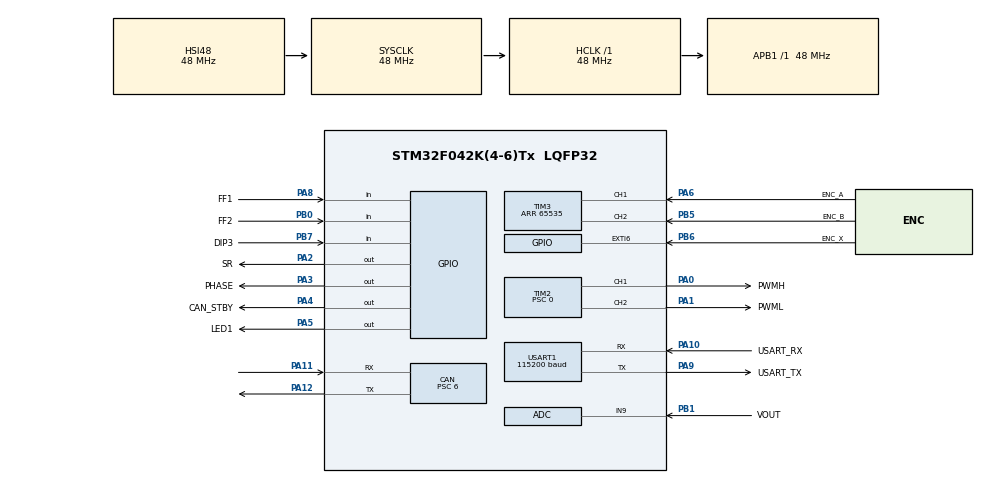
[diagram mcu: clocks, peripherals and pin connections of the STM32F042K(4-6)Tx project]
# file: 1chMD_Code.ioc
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ADC.ClockPrescaler=ADC_CLOCK_ASYNC_DIV1
ADC.ContinuousConvMode=ENABLE
ADC.DMAContinuousRequests=DISABLE
ADC.SamplingTime=ADC_SAMPLETIME_7CYCLES_5
CAN.BS1=CAN_BS1_14TQ
CAN.CalculateTimeQuantum=125.0
CAN.Prescaler=6
Dma.ADC.0.Direction=DMA_PERIPH_TO_MEMORY
Dma.ADC.0.Instance=DMA1_Channel1
Dma.ADC.0.MemDataAlignment=DMA_MDATAALIGN_HALFWORD
Dma.ADC.0.MemInc=DMA_MINC_ENABLE
Dma.ADC.0.Mode=DMA_CIRCULAR
Dma.ADC.0.PeriphDataAlignment=DMA_PDATAALIGN_HALFWORD
Dma.ADC.0.PeriphInc=DMA_PINC_DISABLE
Dma.ADC.0.Priority=DMA_PRIORITY_LOW
Dma.Request0=ADC
Mcu.Family=STM32F0
Mcu.Name=STM32F042K(4-6)Tx
Mcu.Package=LQFP32
NVIC.CEC_CAN_IRQn=true\:0\:0\:false\:false\:true\:true\:true
NVIC.DMA1_Channel1_IRQn=true\:0\:0\:false\:false\:true\:false\:true
NVIC.TIM14_IRQn=true\:0\:0\:false\:false\:true\:true\:true
NVIC.TIM1_BRK_UP_TRG_COM_IRQn=true\:0\:0\:false\:false\:true\:true\:true
PA0.GPIO_Label=PWMH
PA0.GPIO_ModeDefaultPP=GPIO_MODE_AF_PP
PA0.GPIO_PuPd=GPIO_NOPULL
PA0.GPIO_Speed=GPIO_SPEED_FREQ_LOW
PA0.Signal=S_TIM2_CH1_ETR
PA1.GPIO_Label=PWML
PA1.Signal=S_TIM2_CH2
PA10.GPIO_FMA10=__NULL
PA10.GPIO_Label=USART_RX
PA10.GPIO_ModeDefaultPP=GPIO_MODE_AF_PP
PA10.GPIO_PuPd=GPIO_NOPULL
PA10.GPIO_Speed=GPIO_SPEED_FREQ_HIGH
PA10.Mode=Asynchronous
PA10.Signal=USART1_RX
PA11.Mode=Master
PA11.Signal=CAN_RX
PA12.Mode=Master
PA12.Signal=CAN_TX
PA13.GPIO_Label=SWDIO
PA13.Mode=Serial_Wire
PA13.Signal=SYS_SWDIO
PA14.GPIO_Label=SWDIO
PA14.Mode=Serial_Wire
PA14.Signal=SYS_SWCLK
PA2.GPIO_Label=SR
PA2.GPIO_ModeDefaultOutputPP=GPIO_MODE_OUTPUT_PP
PA2.GPIO_PuPd=GPIO_NOPULL
PA2.GPIO_Speed=GPIO_SPEED_FREQ_LOW
PA2.PinState=GPIO_PIN_RESET
PA2.Signal=GPIO_Output
PA3.GPIO_Label=PHASE
PA3.Signal=GPIO_Output
PA4.GPIO_Label=CAN_STBY
PA4.Signal=GPIO_Output
PA5.GPIO_Label=LED1
PA5.Signal=GPIO_Output
PA6.GPIO_Label=ENC_A
PA6.GPIO_ModeDefaultPP=GPIO_MODE_AF_PP
PA6.GPIO_PuPd=GPIO_NOPULL
PA6.GPIO_Speed=GPIO_SPEED_FREQ_LOW
PA6.Signal=S_TIM3_CH1
PA7.GPIO_Mode=GPIO_MODE_AF_PP
PA7.GPIO_PuPd=GPIO_NOPULL
PA7.GPIO_Speed=GPIO_SPEED_FREQ_HIGH
PA7.Signal=SPI1_MOSI
PA8.GPIO_Label=FF1
PA8.Signal=GPIO_Input
PA9.GPIO_FMA9=__NULL
PA9.GPIO_Label=USART_TX
PA9.GPIO_ModeDefaultPP=GPIO_MODE_AF_PP
PA9.GPIO_PuPd=GPIO_NOPULL
PA9.GPIO_Speed=GPIO_SPEED_FREQ_HIGH
PA9.Mode=Asynchronous
PA9.Signal=USART1_TX
PB0.GPIO_Label=FF2
PB0.Signal=GPIO_Input
PB1.GPIO_Label=VOUT
PB1.GPIO_Mode=GPIO_MODE_ANALOG
PB1.GPIO_PuPd=GPIO_NOPULL
PB1.Mode=IN9
PB1.Signal=ADC_IN9
PB5.GPIO_Label=ENC_B
PB5.GPIO_ModeDefaultPP=GPIO_MODE_AF_PP
PB5.GPIO_PuPd=GPIO_NOPULL
PB5.GPIO_Speed=GPIO_SPEED_FREQ_LOW
PB5.Signal=S_TIM3_CH2
PB6.GPIO_Label=ENC_X
PB6.GPIO_ModeDefaultEXTI=GPIO_MODE_IT_RISING
PB6.GPIO_PuPd=GPIO_NOPULL
PB6.Signal=GPXTI6
PB7.GPIO_Label=DIP3
PB7.GPIO_Mode=GPIO_MODE_INPUT
PB7.GPIO_PuPd=GPIO_PULLUP
PB7.Signal=GPIO_Input
PB8.Signal=S_TIM16_CH1
ProjectManager.HeapSize=0x200
ProjectManager.StackSize=0x400
ProjectManager.TargetToolchain=STM32CubeIDE
RCC.AHBFreq_Value=48000000
RCC.APB1Freq_Value=48000000
RCC.APB1TimFreq_Value=48000000
RCC.HCLKFreq_Value=48000000
RCC.SYSCLKFreq_VALUE=48000000
RCC.SYSCLKSource=RCC_SYSCLKSOURCE_HSI48
SH.S_TIM16_CH1.0=TIM16_CH1
SH.S_TIM2_CH1_ETR.0=TIM2_CH1,PWM Generation1 CH1
SH.S_TIM2_CH2.0=TIM2_CH2,PWM Generation2 CH2
SH.S_TIM3_CH1.0=TIM3_CH1,Encoder_Interface
SH.S_TIM3_CH2.0=TIM3_CH2,Encoder_Interface
TIM1.Period=160
TIM1.Prescaler=3-1
TIM14.Period=4000
TIM2.Channel-PWM\ Generation1\ CH1=TIM_CHANNEL_1
TIM2.Channel-PWM\ Generation2\ CH2=TIM_CHANNEL_2
TIM2.Period=1655-1
TIM2.Prescaler=0
TIM3.EncoderMode=TIM_ENCODERMODE_TI12
TIM3.Period=65535
USART1.BaudRate=115200
USART1.VirtualMode-Asynchronous=VM_ASYNC
VP_TIM14_VS_ClockSourceINT.Mode=Enable_Timer
VP_TIM1_VS_ClockSourceINT.Mode=Internal
board=custom

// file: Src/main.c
/* USER CODE BEGIN Header */
/**
  ******************************************************************************
  * @file           : main.c
  * @brief          : Main program body
  ******************************************************************************
  * @attention
  *
  * <h2><center>&copy; Copyright (c) 2019 STMicroelectronics.
  * All rights reserved.</center></h2>
  *
  * This software component is licensed by ST under BSD 3-Clause license,
  * the "License"; You may not use this file except in compliance with the
  * License. You may obtain a copy of the License at:
  *                        opensource.org/licenses/BSD-3-Clause
  *
  ******************************************************************************
  */
/* USER CODE END Header */

#include "main.h"

/* USER CODE BEGIN Includes */
#include <math.h>
#define ARM_MATH_CM0
#include "arm_math.h"
#include "arm_const_structs.h"
/* USER CODE END Includes */

/* USER CODE BEGIN PD */

//PID value
#define KP 6.1
#define KI 0
#define KD 0
//ADC
#define ADC_CONVERTED_DATA_BUFFER_SIZE 1
#define CURRENT_AVERAGING_NUM 50//[times]
#define LPF_VALUE 0.08//if this value is 1, cut off frequency is infinitiy.
#define CURRENT_SENS 0.0176//[V/A]
#define CURRENT_DRIFT 0.331//[V]
//#define CURRENT_DRIFT_VALUE 406.97//[-]
float CURRENT_DRIFT_VALUE;
#define VOLTAGE_REF 3.3//[V]
#define VOLTAGE_REF_VALUE 4096//[-]

//Current limit
#define CURRENT_LIMIT_LPF_VALUE 0.01 //if this value is 1, cut off frequency is infinitiy.
#define CURRENT_LIMIT_FALLING_GAIN 100
#define CURRENT_LIMIT_RISING_GAIN 1 //

//Duty resolution and PWM frequency
#define PWM_PSC (1-1)
#define PWM_ARR (2000-1)//	48MHz/PWM_PSC*PWM_ARR = PWM frequency
#define PWM_CHANGE_CONTROL_THRESHOLD 85
#define PWM_DUTY_MAX_ABS 30

//Timer interruption1 frequency
#define TIM1_PSC (48-1)//48MHz/Timer_PSC = Timer interruption1(main control) frequency
#define TIM1_ARR (1000-1)
#define TIM14_PSC (48-1)
#define TIM14_ARR (250-1)

/* USER CODE END PD */

ADC_HandleTypeDef hadc;
DMA_HandleTypeDef hdma_adc;

CAN_HandleTypeDef hcan;

TIM_HandleTypeDef htim1;
TIM_HandleTypeDef htim2;
TIM_HandleTypeDef htim3;
TIM_HandleTypeDef htim14;

UART_HandleTypeDef huart1;

/* USER CODE BEGIN PV */

float target_value =1;

//CAN

uint32_t pTxMailbox;
uint32_t mailbox,timestamp;
uint8_t CAN_data[]={0xaa,0x55,0x00,0x00,0xff,0x01,0x80,0x45};
uint8_t CAN_ReceiveData[8]={};

//ADC
uint16_t ADC_Data[ADC_CONVERTED_DATA_BUFFER_SIZE];
float ADC_Slope;
float ADC_Offset;

//PWM
float Duty_Present = 0;//100%=100
float PWM_Duty_Max=10;//[%]

//Current
float Current_Present = 0;//[A]
float current_average_dt=0;
float Current_Limit_Value = 5;//[A] //if Current_Limit_State is ENABLE and over this value become duty down except for transient over.
uint8_t Current_Limit_State= ENABLE;

//ERROR
typedef enum{
	HAL_ERROR_STATE,
	PWM_DUTY_MAX_ABS_OVER,
	PWM_DUTY_MAX_OVER,
	CURRENT_LIMIT_RISING,
	CURRENT_LIMIT_OVER,
	CAN_ERROR
}error;
uint8_t Error_State=0;

float CURRENT_AVERAGE_DT;
float DUTY_AVERAGE_DT;

/* USER CODE END PV */

void SystemClock_Config(void);
static void MX_GPIO_Init(void);
static void MX_DMA_Init(void);
static void MX_ADC_Init(void);
static void MX_CAN_Init(void);
static void MX_TIM2_Init(void);
static void MX_TIM3_Init(void);
static void MX_USART1_UART_Init(void);
static void MX_TIM1_Init(void);
static void MX_TIM14_Init(void);
/* USER CODE BEGIN PFP */
int Get_Enocder_Value(void);
float Get_Current_Value(void);
void Motor_pwm(float pwm);
void Motor_InitSetting(char setting);
float pid(float present, float target);
void CAN_Tx(uint8_t aData[]);
void CAN_Rx(void);
/* USER CODE END PFP */

/* USER CODE BEGIN 0 */

void TIM1_BRK_UP_TRG_COM_IRQHandler(void)//TIM1 timer interruption
{
	HAL_TIM_IRQHandler(&htim1);
	static float cos_,i=0;

	//Motor_pwm(cos_);
	i=i+0.001;
	target_value =0.5*arm_sin_f32(6.28318530718*i);

	//if(i ==0) Motor_pwm(5);
	//else Motor_pwm(-5);
	//i++;
	//if(i==2) i=0;

	//Duty_Present += pid(Current_Present,target_value);
	//Motor_pwm(Duty_Present);

	//Motor_pwm(0);

	//Motor_pwm(pid(Current_Value,target_value));
}

void TIM14_IRQHandler(void)
{
  /* USER CODE BEGIN TIM14_IRQn 0 */

	//CAN_Rx();
	CAN_Tx(CAN_data);
  /* USER CODE END TIM14_IRQn 0 */
  HAL_TIM_IRQHandler(&htim14);
  /* USER CODE BEGIN TIM14_IRQn 1 */
  int8_t direction;
  float sum=0;
  static float current_abs_lpf,current_abs_prev;

  static float current_abs_high_lpf,current_abs_prev_high_lpf;

	for(uint16_t i =0; i<CURRENT_AVERAGING_NUM; i++)//get current value by normalization filter
	{
		HAL_ADC_Start_DMA(&hadc,(uint32_t *)ADC_Data,ADC_CONVERTED_DATA_BUFFER_SIZE);//start adc
		if(HAL_GPIO_ReadPin(PHASE_GPIO_Port,PHASE_Pin) == 1) sum += ADC_Data[0];
		else sum -= ADC_Data[0];
	}
	sum /= CURRENT_AVERAGING_NUM;
	if(sum > 0) direction = 1;
	else
	{
		direction = -1;
		sum *= -1;
	}
	current_abs_lpf = (1-LPF_VALUE)*current_abs_prev + LPF_VALUE*((sum-CURRENT_DRIFT_VALUE)*VOLTAGE_REF/(CURRENT_SENS*VOLTAGE_REF_VALUE));
	current_abs_prev = current_abs_lpf;
	Current_Present = direction*current_abs_lpf;

	if(Current_Limit_State == ENABLE)//current limit
	{
		current_abs_high_lpf = (1-CURRENT_LIMIT_LPF_VALUE)*current_abs_prev_high_lpf + CURRENT_LIMIT_LPF_VALUE*((sum-CURRENT_DRIFT_VALUE)*VOLTAGE_REF/(CURRENT_SENS*VOLTAGE_REF_VALUE));
		current_abs_prev_high_lpf = current_abs_high_lpf;
		current_average_dt = direction*current_abs_high_lpf;
		CURRENT_AVERAGE_DT = current_average_dt;
		if(fabs(current_average_dt) > Current_Limit_Value && PWM_Duty_Max > 0)//current shut down
		{
			PWM_Duty_Max+=(Current_Limit_Value-current_average_dt)*CURRENT_LIMIT_FALLING_GAIN;
			Error_State|=(1<<CURRENT_LIMIT_OVER);
		}
		else Error_State&=~(1<<CURRENT_LIMIT_OVER);

		Motor_pwm(Duty_Present);
	}
	HAL_CAN_IRQHandler(&hcan);

	/* USER CODE END TIM14_IRQn 1 */
}

/* USER CODE END 0 */

int main(void)
{

  /* MCU Configuration--------------------------------------------------------*/

  /* Reset of all peripherals, Initializes the Flash interface and the Systick. */
  HAL_Init();

  /* Configure the system clock */
  SystemClock_Config();

  /* Initialize all configured peripherals */
  MX_GPIO_Init();
  MX_DMA_Init();
  MX_ADC_Init();
  MX_CAN_Init();
  MX_TIM2_Init();
  MX_TIM3_Init();
  MX_USART1_UART_Init();
  MX_TIM1_Init();
  MX_TIM14_Init();
  /* USER CODE BEGIN 2 */
  HAL_ADCEx_Calibration_Start(&hadc);//adc calibration
  Motor_InitSetting(1);
  Current_Limit_State=ENABLE;

  HAL_TIM_Encoder_Start(&htim3,TIM_CHANNEL_ALL);//encoder start
  HAL_TIM_PWM_Start(&htim2,TIM_CHANNEL_1);//PWM generation
  HAL_TIM_PWM_Start(&htim2,TIM_CHANNEL_2);
  HAL_TIM_PWM_Start(&htim2,TIM_CHANNEL_4);
  HAL_CAN_Start(&hcan);
  HAL_Delay(10);
  HAL_TIM_Base_Start_IT(&htim14);
  HAL_Delay(500);
  HAL_TIM_Base_Start_IT(&htim1);//timer interruption

  /* USER CODE END 2 */

  /* Infinite loop */
  while (1)
  {

  }
}

void SystemClock_Config(void)
{
  RCC_OscInitTypeDef RCC_OscInitStruct = {0};
  RCC_ClkInitTypeDef RCC_ClkInitStruct = {0};
  RCC_PeriphCLKInitTypeDef PeriphClkInit = {0};

  /** Initializes the CPU, AHB and APB busses clocks
  */
  RCC_OscInitStruct.OscillatorType = RCC_OSCILLATORTYPE_HSI14|RCC_OSCILLATORTYPE_HSI48;
  RCC_OscInitStruct.HSI48State = RCC_HSI48_ON;
  RCC_OscInitStruct.HSI14State = RCC_HSI14_ON;
  RCC_OscInitStruct.HSI14CalibrationValue = 16;
  RCC_OscInitStruct.PLL.PLLState = RCC_PLL_NONE;
  if (HAL_RCC_OscConfig(&RCC_OscInitStruct) != HAL_OK)
  {
    Error_Handler();
  }
  /** Initializes the CPU, AHB and APB busses clocks
  */
  RCC_ClkInitStruct.ClockType = RCC_CLOCKTYPE_HCLK|RCC_CLOCKTYPE_SYSCLK
                              |RCC_CLOCKTYPE_PCLK1;
  RCC_ClkInitStruct.SYSCLKSource = RCC_SYSCLKSOURCE_HSI48;
  RCC_ClkInitStruct.AHBCLKDivider = RCC_SYSCLK_DIV1;
  RCC_ClkInitStruct.APB1CLKDivider = RCC_HCLK_DIV1;

  if (HAL_RCC_ClockConfig(&RCC_ClkInitStruct, FLASH_LATENCY_1) != HAL_OK)
  {
    Error_Handler();
  }
  PeriphClkInit.PeriphClockSelection = RCC_PERIPHCLK_USART1;
  PeriphClkInit.Usart1ClockSelection = RCC_USART1CLKSOURCE_PCLK1;
  if (HAL_RCCEx_PeriphCLKConfig(&PeriphClkInit) != HAL_OK)
  {
    Error_Handler();
  }
}

static void MX_ADC_Init(void)
{

  ADC_ChannelConfTypeDef sConfig = {0};

  /** Configure the global features of the ADC (Clock, Resolution, Data Alignment and number of conversion)
  */
  hadc.Instance = ADC1;
  hadc.Init.ClockPrescaler = ADC_CLOCK_ASYNC_DIV1;
  hadc.Init.Resolution = ADC_RESOLUTION_12B;
  hadc.Init.DataAlign = ADC_DATAALIGN_RIGHT;
  hadc.Init.ScanConvMode = ADC_SCAN_DIRECTION_FORWARD;
  hadc.Init.EOCSelection = ADC_EOC_SINGLE_CONV;
  hadc.Init.LowPowerAutoWait = DISABLE;
  hadc.Init.LowPowerAutoPowerOff = DISABLE;
  hadc.Init.ContinuousConvMode = ENABLE;
  hadc.Init.DiscontinuousConvMode = DISABLE;
  hadc.Init.ExternalTrigConv = ADC_SOFTWARE_START;
  hadc.Init.ExternalTrigConvEdge = ADC_EXTERNALTRIGCONVEDGE_NONE;
  hadc.Init.DMAContinuousRequests = DISABLE;
  hadc.Init.Overrun = ADC_OVR_DATA_PRESERVED;
  if (HAL_ADC_Init(&hadc) != HAL_OK)
  {
    Error_Handler();
  }
  /** Configure for the selected ADC regular channel to be converted.
  */
  sConfig.Channel = ADC_CHANNEL_9;
  sConfig.Rank = ADC_RANK_CHANNEL_NUMBER;
  sConfig.SamplingTime = ADC_SAMPLETIME_7CYCLES_5;
  if (HAL_ADC_ConfigChannel(&hadc, &sConfig) != HAL_OK)
  {
    Error_Handler();
  }

}

static void MX_CAN_Init(void)
{

  hcan.Instance = CAN;
  hcan.Init.Prescaler = 6;
  hcan.Init.Mode = CAN_MODE_NORMAL;
  hcan.Init.SyncJumpWidth = CAN_SJW_1TQ;
  hcan.Init.TimeSeg1 = CAN_BS1_14TQ;
  hcan.Init.TimeSeg2 = CAN_BS2_1TQ;
  hcan.Init.TimeTriggeredMode = DISABLE;
  hcan.Init.AutoBusOff = DISABLE;
  hcan.Init.AutoWakeUp = DISABLE;
  hcan.Init.AutoRetransmission = DISABLE;
  hcan.Init.ReceiveFifoLocked = DISABLE;
  hcan.Init.TransmitFifoPriority = DISABLE;
  if (HAL_CAN_Init(&hcan) != HAL_OK)
  {
    Error_Handler();
  }
  /* USER CODE BEGIN CAN_Init 2 */

  HAL_GPIO_WritePin(CAN_STBY_GPIO_Port,CAN_STBY_Pin,0);
 // CAN_FilterTypeDef sFilterConfig;
 // sFilterConfig.FilterMaskIdHigh = 0;
 // sFilterConfig.FilterMaskIdLow = 0;
 // sFilterConfig.FilterMode = CAN_FILTERMODE_IDMASK;
 // sFilterConfig.FilterScale = CAN_FILTERSCALE_32BIT;
 // sFilterConfig.FilterFIFOAssignment =CAN_FILTER_FIFO0;
//  sFilterConfig.FilterActivation = CAN_FILTER_ENABLE;

 // HAL_CAN_ConfigFilter(&hcan, &sFilterConfig);
  /* USER CODE END CAN_Init 2 */

}

static void MX_TIM1_Init(void)
{

  TIM_ClockConfigTypeDef sClockSourceConfig = {0};
  TIM_MasterConfigTypeDef sMasterConfig = {0};

  htim1.Instance = TIM1;
  htim1.Init.Prescaler = TIM1_PSC;
  htim1.Init.CounterMode = TIM_COUNTERMODE_UP;
  htim1.Init.Period = TIM1_ARR;
  htim1.Init.ClockDivision = TIM_CLOCKDIVISION_DIV1;
  htim1.Init.RepetitionCounter = 0;
  htim1.Init.AutoReloadPreload = TIM_AUTORELOAD_PRELOAD_DISABLE;
  if (HAL_TIM_Base_Init(&htim1) != HAL_OK)
  {
    Error_Handler();
  }
  sClockSourceConfig.ClockSource = TIM_CLOCKSOURCE_INTERNAL;
  if (HAL_TIM_ConfigClockSource(&htim1, &sClockSourceConfig) != HAL_OK)
  {
    Error_Handler();
  }
  sMasterConfig.MasterOutputTrigger = TIM_TRGO_RESET;
  sMasterConfig.MasterSlaveMode = TIM_MASTERSLAVEMODE_DISABLE;
  if (HAL_TIMEx_MasterConfigSynchronization(&htim1, &sMasterConfig) != HAL_OK)
  {
    Error_Handler();
  }

}

static void MX_TIM2_Init(void)
{

  TIM_MasterConfigTypeDef sMasterConfig = {0};
  TIM_OC_InitTypeDef sConfigOC = {0};

  htim2.Instance = TIM2;
  htim2.Init.Prescaler = PWM_PSC;
  htim2.Init.CounterMode = TIM_COUNTERMODE_UP;
  htim2.Init.Period = PWM_ARR;
  htim2.Init.ClockDivision = TIM_CLOCKDIVISION_DIV1;
  htim2.Init.AutoReloadPreload = TIM_AUTORELOAD_PRELOAD_DISABLE;
  if (HAL_TIM_PWM_Init(&htim2) != HAL_OK)
  {
    Error_Handler();
  }
  sMasterConfig.MasterOutputTrigger = TIM_TRGO_RESET;
  sMasterConfig.MasterSlaveMode = TIM_MASTERSLAVEMODE_DISABLE;
  if (HAL_TIMEx_MasterConfigSynchronization(&htim2, &sMasterConfig) != HAL_OK)
  {
    Error_Handler();
  }
  sConfigOC.OCMode = TIM_OCMODE_PWM1;
  sConfigOC.Pulse = 0;
  sConfigOC.OCPolarity = TIM_OCPOLARITY_HIGH;
  sConfigOC.OCFastMode = TIM_OCFAST_DISABLE;
  if (HAL_TIM_PWM_ConfigChannel(&htim2, &sConfigOC, TIM_CHANNEL_1) != HAL_OK)
  {
    Error_Handler();
  }
  if (HAL_TIM_PWM_ConfigChannel(&htim2, &sConfigOC, TIM_CHANNEL_2) != HAL_OK)
  {
    Error_Handler();
  }
  HAL_TIM_MspPostInit(&htim2);

}

static void MX_TIM3_Init(void)
{

  TIM_Encoder_InitTypeDef sConfig = {0};
  TIM_MasterConfigTypeDef sMasterConfig = {0};

  htim3.Instance = TIM3;
  htim3.Init.Prescaler = 0;
  htim3.Init.CounterMode = TIM_COUNTERMODE_UP;
  htim3.Init.Period = 65535;
  htim3.Init.ClockDivision = TIM_CLOCKDIVISION_DIV1;
  htim3.Init.AutoReloadPreload = TIM_AUTORELOAD_PRELOAD_DISABLE;
  sConfig.EncoderMode = TIM_ENCODERMODE_TI12;
  sConfig.IC1Polarity = TIM_ICPOLARITY_RISING;
  sConfig.IC1Selection = TIM_ICSELECTION_DIRECTTI;
  sConfig.IC1Prescaler = TIM_ICPSC_DIV1;
  sConfig.IC1Filter = 0;
  sConfig.IC2Polarity = TIM_ICPOLARITY_RISING;
  sConfig.IC2Selection = TIM_ICSELECTION_DIRECTTI;
  sConfig.IC2Prescaler = TIM_ICPSC_DIV1;
  sConfig.IC2Filter = 0;
  if (HAL_TIM_Encoder_Init(&htim3, &sConfig) != HAL_OK)
  {
    Error_Handler();
  }
  sMasterConfig.MasterOutputTrigger = TIM_TRGO_RESET;
  sMasterConfig.MasterSlaveMode = TIM_MASTERSLAVEMODE_DISABLE;
  if (HAL_TIMEx_MasterConfigSynchronization(&htim3, &sMasterConfig) != HAL_OK)
  {
    Error_Handler();
  }

}

static void MX_TIM14_Init(void)
{

  htim14.Instance = TIM14;
  htim14.Init.Prescaler = TIM14_PSC;
  htim14.Init.CounterMode = TIM_COUNTERMODE_UP;
  htim14.Init.Period = TIM14_ARR;
  htim14.Init.ClockDivision = TIM_CLOCKDIVISION_DIV1;
  htim14.Init.AutoReloadPreload = TIM_AUTORELOAD_PRELOAD_DISABLE;
  if (HAL_TIM_Base_Init(&htim14) != HAL_OK)
  {
    Error_Handler();
  }

}

static void MX_USART1_UART_Init(void)
{

  huart1.Instance = USART1;
  huart1.Init.BaudRate = 115200;
  huart1.Init.WordLength = UART_WORDLENGTH_8B;
  huart1.Init.StopBits = UART_STOPBITS_1;
  huart1.Init.Parity = UART_PARITY_NONE;
  huart1.Init.Mode = UART_MODE_TX_RX;
  huart1.Init.HwFlowCtl = UART_HWCONTROL_NONE;
  huart1.Init.OverSampling = UART_OVERSAMPLING_16;
  huart1.Init.OneBitSampling = UART_ONE_BIT_SAMPLE_DISABLE;
  huart1.AdvancedInit.AdvFeatureInit = UART_ADVFEATURE_NO_INIT;
  if (HAL_UART_Init(&huart1) != HAL_OK)
  {
    Error_Handler();
  }

}

static void MX_DMA_Init(void)
{

  /* DMA controller clock enable */
  __HAL_RCC_DMA1_CLK_ENABLE();

  /* DMA interrupt init */
  /* DMA1_Channel1_IRQn interrupt configuration */
  HAL_NVIC_SetPriority(DMA1_Channel1_IRQn, 0, 0);
  HAL_NVIC_EnableIRQ(DMA1_Channel1_IRQn);

}

static void MX_GPIO_Init(void)
{
  GPIO_InitTypeDef GPIO_InitStruct = {0};

  /* GPIO Ports Clock Enable */
  __HAL_RCC_GPIOA_CLK_ENABLE();
  __HAL_RCC_GPIOB_CLK_ENABLE();

  /*Configure GPIO pin Output Level */
  HAL_GPIO_WritePin(GPIOA, SR_Pin|PHASE_Pin|CAN_STBY_Pin|LED1_Pin, GPIO_PIN_RESET);

  /*Configure GPIO pins : SR_Pin PHASE_Pin CAN_STBY_Pin LED1_Pin */
  GPIO_InitStruct.Pin = SR_Pin|PHASE_Pin|CAN_STBY_Pin|LED1_Pin;
  GPIO_InitStruct.Mode = GPIO_MODE_OUTPUT_PP;
  GPIO_InitStruct.Pull = GPIO_NOPULL;
  GPIO_InitStruct.Speed = GPIO_SPEED_FREQ_LOW;
  HAL_GPIO_Init(GPIOA, &GPIO_InitStruct);

  /*Configure GPIO pin : PA7 */
  GPIO_InitStruct.Pin = GPIO_PIN_7;
  GPIO_InitStruct.Mode = GPIO_MODE_AF_PP;
  GPIO_InitStruct.Pull = GPIO_NOPULL;
  GPIO_InitStruct.Speed = GPIO_SPEED_FREQ_HIGH;
  GPIO_InitStruct.Alternate = GPIO_AF0_SPI1;
  HAL_GPIO_Init(GPIOA, &GPIO_InitStruct);

  /*Configure GPIO pin : FF2_Pin */
  GPIO_InitStruct.Pin = FF2_Pin;
  GPIO_InitStruct.Mode = GPIO_MODE_INPUT;
  GPIO_InitStruct.Pull = GPIO_NOPULL;
  HAL_GPIO_Init(FF2_GPIO_Port, &GPIO_InitStruct);

  /*Configure GPIO pin : FF1_Pin */
  GPIO_InitStruct.Pin = FF1_Pin;
  GPIO_InitStruct.Mode = GPIO_MODE_INPUT;
  GPIO_InitStruct.Pull = GPIO_NOPULL;
  HAL_GPIO_Init(FF1_GPIO_Port, &GPIO_InitStruct);

  /*Configure GPIO pin : ENC_X_Pin */
  GPIO_InitStruct.Pin = ENC_X_Pin;
  GPIO_InitStruct.Mode = GPIO_MODE_IT_RISING;
  GPIO_InitStruct.Pull = GPIO_NOPULL;
  HAL_GPIO_Init(ENC_X_GPIO_Port, &GPIO_InitStruct);

  /*Configure GPIO pin : DIP3_Pin */
  GPIO_InitStruct.Pin = DIP3_Pin;
  GPIO_InitStruct.Mode = GPIO_MODE_INPUT;
  GPIO_InitStruct.Pull = GPIO_PULLUP;
  HAL_GPIO_Init(DIP3_GPIO_Port, &GPIO_InitStruct);

  /*Configure GPIO pin : PB8 */
  GPIO_InitStruct.Pin = GPIO_PIN_8;
  GPIO_InitStruct.Mode = GPIO_MODE_AF_PP;
  GPIO_InitStruct.Pull = GPIO_NOPULL;
  GPIO_InitStruct.Speed = GPIO_SPEED_FREQ_LOW;
  GPIO_InitStruct.Alternate = GPIO_AF2_TIM16;
  HAL_GPIO_Init(GPIOB, &GPIO_InitStruct);

}

/* USER CODE BEGIN 4 */

int Get_Enocder_Value(void)
{
	return TIM3->CNT;
}

void Motor_pwm(float duty)
{
//limit PWM
	int8_t direction;
	if(duty > 0) direction = 1;
	else direction = -1;

	if(direction*duty > PWM_DUTY_MAX_ABS)
	{
		duty = direction*PWM_DUTY_MAX_ABS;
		Error_State|=(1<<PWM_DUTY_MAX_ABS_OVER);
	}
	else Error_State &=~(1<<PWM_DUTY_MAX_ABS_OVER);

	if(direction*duty > PWM_Duty_Max)
	{
		duty = direction*PWM_Duty_Max;
		Error_State|=(1<<PWM_DUTY_MAX_OVER);
	}
	else Error_State &=~(1<<PWM_DUTY_MAX_OVER);

	if(PWM_Duty_Max < PWM_DUTY_MAX_ABS && (Error_State & (1<<CURRENT_LIMIT_OVER)) == 0)
	{
		PWM_Duty_Max+=(Current_Limit_Value-current_average_dt)*CURRENT_LIMIT_RISING_GAIN;
		Error_State|=(1<<CURRENT_LIMIT_RISING);
	}
	else Error_State&=~(1<<CURRENT_LIMIT_RISING);
	Duty_Present = duty;

//output PWM
	if(duty < 0)//set direction
	{
		HAL_GPIO_WritePin(PHASE_GPIO_Port,PHASE_Pin,0);
		duty*=-1;
	}
	else HAL_GPIO_WritePin(PHASE_GPIO_Port,PHASE_Pin,1);

	if(duty > PWM_CHANGE_CONTROL_THRESHOLD)//PWM_FET_Lo
	{
		__HAL_TIM_SET_COMPARE(&htim2, TIM_CHANNEL_1, PWM_ARR+1);
		__HAL_TIM_SET_COMPARE(&htim2, TIM_CHANNEL_2, duty*(PWM_ARR+1)/100);
	}
	else//PWM_FET_Hi
	{
		__HAL_TIM_SET_COMPARE(&htim2, TIM_CHANNEL_2, PWM_ARR+1);
		__HAL_TIM_SET_COMPARE(&htim2, TIM_CHANNEL_1, duty*(PWM_ARR+1)/100);
	}

}

void Motor_InitSetting(char setting)
{

	if(setting == 0)//This mode is slow decay no dead time, but it has polarity of braking. no recomend except for special purpose.
	{
		HAL_GPIO_WritePin(SR_GPIO_Port,SR_Pin,0);
	}
	else if(setting == 1)//This mode is slow decay and no polarity of braking, but it has dead time(180ns) to prevent short FET of switching.
	{
		HAL_GPIO_WritePin(SR_GPIO_Port,SR_Pin,1);
	}

	for(uint16_t i = 0; i<4096; i++)//get current drift value and derieve adc calibration value.
	{
		__HAL_TIM_SET_COMPARE(&htim2, TIM_CHANNEL_2, PWM_ARR+1);
		__HAL_TIM_SET_COMPARE(&htim2, TIM_CHANNEL_1, 0);
		HAL_ADC_Start_DMA(&hadc,(uint32_t *)ADC_Data,ADC_CONVERTED_DATA_BUFFER_SIZE);//start adc
		CURRENT_DRIFT_VALUE += ADC_Data[0];
	}
	CURRENT_DRIFT_VALUE /= 4096;
}

float pid(float present, float target)
{
	//pid
	static float diff_[2];
	static float integral_;
	static float p_, i_, d_;
	static float kp_=KP, ki_=KI, kd_=KD;
	static float control_;

	float difference = target-present;
    diff_[0] = diff_[1];
    diff_[1] = difference;

    if(diff_[0] * diff_[1] < 0)
    	integral_ = 0;
    else
    	integral_ += ((diff_[0] + diff_[1]) / 2.0);
    p_ = kp_ * diff_[1];
    i_ = ki_ * integral_;
    d_ = kd_ * (diff_[0] - diff_[1]);
    control_ = p_ + i_ + d_;
    return control_;
}

void CAN_Tx(uint8_t aData[])
{
	CAN_TxHeaderTypeDef TxHeader;
	TxHeader.StdId = 0x8;
	TxHeader.ExtId = 0x0;
	TxHeader.IDE = CAN_ID_STD;
	TxHeader.RTR = CAN_RTR_DATA;
	TxHeader.DLC = sizeof(aData)/sizeof(uint8_t);
	TxHeader.TransmitGlobalTime = DISABLE;

	  if(HAL_CAN_AddTxMessage(&hcan, &TxHeader, aData, &pTxMailbox) != HAL_OK) Error_State|=(1<<CAN_ERROR);
	  else Error_State&=~(1<<CAN_ERROR);

}

void CAN_Rx(void)
{
	CAN_RxHeaderTypeDef RxHeader;
	RxHeader.StdId = 0x6;
	RxHeader.ExtId = 0x0;
	RxHeader.IDE = CAN_ID_STD;
	RxHeader.RTR = CAN_RTR_DATA;
	RxHeader.DLC = sizeof(CAN_ReceiveData)/sizeof(uint8_t);

	HAL_CAN_GetRxMessage(&hcan,CAN_RX_FIFO0,&RxHeader,CAN_ReceiveData);
}

/* USER CODE END 4 */

void Error_Handler(void)
{
}

/************************ (C) COPYRIGHT STMicroelectronics *****END OF FILE****/
